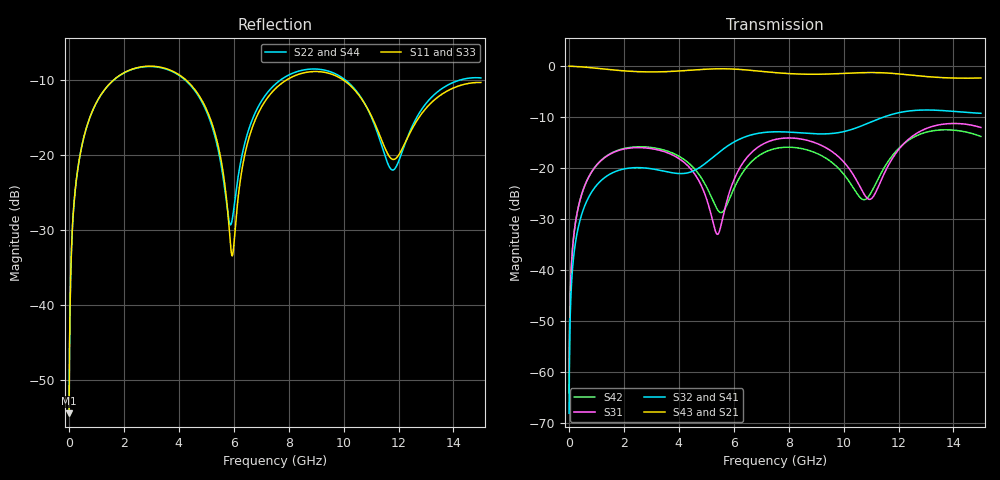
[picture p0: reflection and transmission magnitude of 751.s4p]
! Created with skrf 1.8.0 (http://scikit-rf.org).
# GHz S RI R 50.0
!freq ReS11 ImS11 ReS12 ImS12 ReS13 ImS13
! ReS14 ImS14
! ReS21 ImS21 ReS22 ImS22 ReS23 ImS23
! ReS24 ImS24
! ReS31 ImS31 ReS32 ImS32 ReS33 ImS33
! ReS34 ImS34
! ReS41 ImS41 ReS42 ImS42 ReS43 ImS43
! ReS44 ImS44
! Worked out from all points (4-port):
!   2499 points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, 5 MHz to 15 GHz, reference 50 ohm
!   strongest paths, dB at 5 MHz, 3.476 GHz, 7.19 GHz, 11.1 GHz, 15 GHz:
!     S43: 0.0, -1.1, -1.1, -1.3, -2.3
!     S21: 0.0, -1.1, -1.1, -1.3, -2.3
!     S32: -68.2, -20.6, -13.0, -10.8, -9.3
!     S41: -68.2, -20.7, -13.0, -10.7, -9.4
!     S31: -64.1, -16.8, -15.0, -25.5, -12.1
!     S42: -64.1, -16.5, -16.8, -23.9, -13.8
!   lowest |S11| = -54.4 dB at 5 MHz (marker M1), VSWR 1.00, Z = 50.2 + j0.116 ohm
!   |S11| at or under -10 dB: start of sweep to 1.611 GHz; 4.274 GHz to 7.9 GHz (3.625 GHz wide, 59.6 % of centre); 10.01 GHz to end of sweep
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0.005  0.00152 0.00115  0.9985 -0.00296  7.64e-05 0.000616  -7.42e-05 -0.000384
       0.9985 -0.00296  0.00152 0.00115  -7.42e-05 -0.000384  7.65e-05 0.000616
       7.64e-05 0.000616  -7.42e-05 -0.000384  0.00152 0.00115  0.9985 -0.00296
       -7.42e-05 -0.000384  7.65e-05 0.000616  0.9985 -0.00296  0.00152 0.00115
0.3126303  0.0212 0.0763  0.9712 -0.1846  0.00962 0.0369  -0.00812 -0.0228
           0.9712 -0.1846  0.0211 0.0763  -0.00813 -0.0228  0.00991 0.0368
           0.00962 0.0369  -0.00813 -0.0228  0.0212 0.0763  0.9712 -0.1846
           -0.00812 -0.0228  0.00991 0.0368  0.9712 -0.1846  0.0211 0.0763
1.519383  0.2411 0.1867  0.6105 -0.6909  0.117 0.073  -0.0862 -0.0162
          0.6105 -0.6909  0.2398 0.1873  -0.0864 -0.0161  0.1211 0.0683
          0.117 0.073  -0.0864 -0.0161  0.2409 0.1867  0.6105 -0.6909
          -0.0862 -0.0162  0.1211 0.0683  0.6105 -0.6909  0.2399 0.1872
5.739892  0.0242 -0.0443  -0.928 -0.1525  0.028 0.037  -0.0246 0.1599
          -0.928 -0.1525  0.0359 -0.0314  -0.0213 0.1605  -0.0348 0.0249
          0.028 0.037  -0.0213 0.1605  0.0243 -0.0428  -0.9281 -0.152
          -0.0246 0.1599  -0.0348 0.0249  -0.9281 -0.152  0.0351 -0.0299
9.228845  0.3584 -0.0305  0.0315 0.8338  0.1197 -0.1133  0.2057 -0.0591
          0.0315 0.8338  0.3682 -0.0551  0.2054 -0.0667  0.1131 -0.0655
          0.1197 -0.1133  0.2054 -0.0667  0.3602 -0.0287  0.0308 0.8327
          0.2057 -0.0591  0.1131 -0.0655  0.0308 0.8327  0.3721 -0.0563
11.86119  0.0942 -0.00337  0.8375 0.112  0.0077 0.1341  0.0435 -0.3383
          0.8375 0.112  0.0812 0.00257  0.0311 -0.3398  -0.0207 0.1397
          0.0077 0.1341  0.0311 -0.3398  0.094 -0.00834  0.8372 0.1143
          0.0435 -0.3383  -0.0207 0.1397  0.8372 0.1143  0.0822 0.0014
15  0.3048 -0.0273  0.1269 -0.7544  0.2191 -0.1197  -0.3374 0.02
    0.1269 -0.7544  0.3245 -0.0502  -0.342 0.0391  0.1923 -0.0685
    0.2191 -0.1197  -0.342 0.0391  0.2991 -0.0155  0.129 -0.7538
    -0.3374 0.02  0.1923 -0.0685  0.129 -0.7538  0.3305 -0.0591
